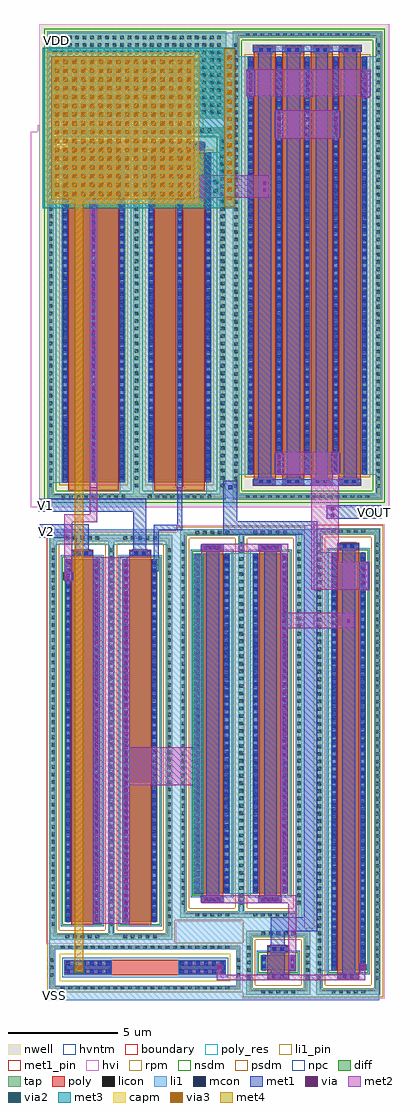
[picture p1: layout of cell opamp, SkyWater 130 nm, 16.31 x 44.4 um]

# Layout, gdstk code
from math import pi, radians
import gdstk
lib = gdstk.Library(unit=1e-6, precision=1e-09)
def R(c, l, rs):  # rectangles x0, y0, x1, y1
    for r in rs: c.add(gdstk.rectangle(r[:2], r[2:], *l))
def A(c, l, x, y, w, h, nx, ny, dx, dy):  # array of equal rectangles
    R(c, l, [(x+i*dx, y+j*dy, x+i*dx+w, y+j*dy+h) for i in range(nx) for j in range(ny)])
nwell = (64, 20)
diff = (65, 20)
tap = (65, 44)
poly_res = (66, 13)
poly = (66, 20)
licon = (66, 44)
li1_pin = (67, 16)
li1 = (67, 20)
mcon = (67, 44)
met1_pin = (68, 16)
met1 = (68, 20)
via = (68, 44)
met2 = (69, 20)
via2 = (69, 44)
met3 = (70, 20)
via3 = (70, 44)
met4 = (71, 20)
hvi = (75, 20)
rpm = (86, 20)
capm = (89, 44)
nsdm = (93, 44)
psdm = (94, 20)
npc = (95, 20)
hvntm = (125, 20)
boundary = (235, 4)

sky130_fd_pr__nfet_g5v0d = lib.new_cell('sky130_fd_pr__nfet_g5v0d10v5_VYCZE8')
R(sky130_fd_pr__nfet_g5v0d, diff, [(-0.79,-8.405,0.79,8.095)])
R(sky130_fd_pr__nfet_g5v0d, tap, [(-1.46,-9.205,1.46,-8.915), (-1.46,-8.915,-1.17,8.915), (1.17,-8.915,1.46,8.915), (-1.46,8.915,1.46,9.205)])
R(sky130_fd_pr__nfet_g5v0d, poly, [(-0.5,-8.535,0.5,8.535)])
A(sky130_fd_pr__nfet_g5v0d, licon, -0.765, -9.145, 0.17, 0.17, 5, 2, 0.34, 18.12)
A(sky130_fd_pr__nfet_g5v0d, licon, -1.4, -8.585, 0.17, 0.17, 1, 51, 0, 0.34)
A(sky130_fd_pr__nfet_g5v0d, licon, 1.23, -8.585, 0.17, 0.17, 1, 51, 0, 0.34)
A(sky130_fd_pr__nfet_g5v0d, licon, -0.73, -8.23, 0.17, 0.17, 1, 48, 0, 0.34)
A(sky130_fd_pr__nfet_g5v0d, licon, 0.56, -8.23, 0.17, 0.17, 1, 48, 0, 0.34)
R(sky130_fd_pr__nfet_g5v0d, licon, [(-0.255,8.285,-0.085,8.455), (0.085,8.285,0.255,8.455)])
R(sky130_fd_pr__nfet_g5v0d, li1, [(-1.4,-9.145,1.4,-8.975), (-1.4,-8.975,-1.23,8.975), (1.23,-8.975,1.4,8.975), (-0.73,-8.425,-0.56,8.115), (0.56,-8.425,0.73,8.115), (-0.5,8.285,0.5,8.455), (-1.4,8.975,1.4,9.145)])
A(sky130_fd_pr__nfet_g5v0d, mcon, -0.73, -8.34, 0.17, 0.17, 1, 46, 0, 0.36)
A(sky130_fd_pr__nfet_g5v0d, mcon, 0.56, -8.34, 0.17, 0.17, 1, 46, 0, 0.36)
R(sky130_fd_pr__nfet_g5v0d, mcon, [(-0.265,8.285,-0.095,8.455), (0.095,8.285,0.265,8.455)])
R(sky130_fd_pr__nfet_g5v0d, met1, [(-0.76,-8.405,-0.53,8.095), (0.53,-8.405,0.76,8.095), (-0.48,8.255,0.48,8.485)])
R(sky130_fd_pr__nfet_g5v0d, hvi, [(-1.645,-9.39,1.645,9.39)])
R(sky130_fd_pr__nfet_g5v0d, nsdm, [(-0.915,-8.53,0.915,8.22)])
R(sky130_fd_pr__nfet_g5v0d, psdm, [(-1.585,-9.33,1.585,-8.79), (-1.585,-8.79,-1.045,8.79), (1.045,-8.79,1.585,8.79), (-1.585,8.79,1.585,9.33)])
R(sky130_fd_pr__nfet_g5v0d, npc, [(-0.355,8.185,0.355,8.555)])
R(sky130_fd_pr__nfet_g5v0d, hvntm, [(-0.975,-8.59,0.975,8.28)])
R(sky130_fd_pr__nfet_g5v0d, boundary, [(-1.315,-9.06,1.315,9.06)])

c_sky130_fd_pr__nfet_g5v0d = lib.new_cell('sky130_fd_pr__nfet_g5v0d10v5_F3SB2X')
R(c_sky130_fd_pr__nfet_g5v0d, diff, [(-0.79,-7.72,0.79,7.72)])
R(c_sky130_fd_pr__nfet_g5v0d, tap, [(-1.46,-8.83,1.46,-8.54), (-1.46,-8.54,-1.17,8.54), (1.17,-8.54,1.46,8.54), (-1.46,8.54,1.46,8.83)])
R(c_sky130_fd_pr__nfet_g5v0d, poly, [(-0.5,-8.16,0.5,8.16)])
A(c_sky130_fd_pr__nfet_g5v0d, licon, -0.765, -8.77, 0.17, 0.17, 5, 2, 0.34, 17.37)
A(c_sky130_fd_pr__nfet_g5v0d, licon, -1.4, -8.245, 0.17, 0.17, 1, 49, 0, 0.34)
A(c_sky130_fd_pr__nfet_g5v0d, licon, 1.23, -8.245, 0.17, 0.17, 1, 49, 0, 0.34)
A(c_sky130_fd_pr__nfet_g5v0d, licon, -0.73, -7.565, 0.17, 0.17, 1, 45, 0, 0.34)
A(c_sky130_fd_pr__nfet_g5v0d, licon, 0.56, -7.565, 0.17, 0.17, 1, 45, 0, 0.34)
R(c_sky130_fd_pr__nfet_g5v0d, licon, [(-0.255,-8.08,-0.085,-7.91), (0.085,-8.08,0.255,-7.91), (-0.255,7.91,-0.085,8.08), (0.085,7.91,0.255,8.08)])
R(c_sky130_fd_pr__nfet_g5v0d, li1, [(-1.4,-8.77,1.4,-8.6), (-1.4,-8.6,-1.23,8.6), (1.23,-8.6,1.4,8.6), (-0.5,-8.08,0.5,-7.91), (-0.73,-7.74,-0.56,7.74), (0.56,-7.74,0.73,7.74), (-0.5,7.91,0.5,8.08), (-1.4,8.6,1.4,8.77)])
A(c_sky130_fd_pr__nfet_g5v0d, mcon, -0.73, -7.645, 0.17, 0.17, 1, 43, 0, 0.36)
A(c_sky130_fd_pr__nfet_g5v0d, mcon, 0.56, -7.645, 0.17, 0.17, 1, 43, 0, 0.36)
R(c_sky130_fd_pr__nfet_g5v0d, mcon, [(-0.265,-8.08,-0.095,-7.91), (0.095,-8.08,0.265,-7.91), (-0.265,7.91,-0.095,8.08), (0.095,7.91,0.265,8.08)])
R(c_sky130_fd_pr__nfet_g5v0d, met1, [(-0.48,-8.11,0.48,-7.88), (-0.76,-7.72,-0.53,7.72), (0.53,-7.72,0.76,7.72), (-0.48,7.88,0.48,8.11)])
R(c_sky130_fd_pr__nfet_g5v0d, hvi, [(-1.645,-9.015,1.645,9.015)])
R(c_sky130_fd_pr__nfet_g5v0d, nsdm, [(-0.915,-7.845,0.915,7.845)])
R(c_sky130_fd_pr__nfet_g5v0d, psdm, [(-1.585,-8.955,1.585,-8.415), (-1.585,-8.415,-1.045,8.415), (1.045,-8.415,1.585,8.415), (-1.585,8.415,1.585,8.955)])
R(c_sky130_fd_pr__nfet_g5v0d, npc, [(-0.355,-8.18,0.355,-7.81), (-0.355,7.81,0.355,8.18)])
R(c_sky130_fd_pr__nfet_g5v0d, hvntm, [(-0.975,-7.905,0.975,7.905)])
R(c_sky130_fd_pr__nfet_g5v0d, boundary, [(-1.31,-8.68,1.31,8.68)])

c_sky130_fd_pr__nfet_g5v0d_ = lib.new_cell('sky130_fd_pr__nfet_g5v0d10v5_2HXNYY')
R(c_sky130_fd_pr__nfet_g5v0d_, diff, [(-0.79,-9.5,0.79,9.5)])
R(c_sky130_fd_pr__nfet_g5v0d_, tap, [(-1.46,-10.61,1.46,-10.32), (-1.46,-10.32,-1.17,10.32), (1.17,-10.32,1.46,10.32), (-1.46,10.32,1.46,10.61)])
R(c_sky130_fd_pr__nfet_g5v0d_, poly, [(-0.5,-9.94,0.5,9.94)])
A(c_sky130_fd_pr__nfet_g5v0d_, licon, -0.765, -10.55, 0.17, 0.17, 5, 2, 0.34, 20.93)
A(c_sky130_fd_pr__nfet_g5v0d_, licon, -1.4, -9.945, 0.17, 0.17, 1, 59, 0, 0.34)
A(c_sky130_fd_pr__nfet_g5v0d_, licon, 1.23, -9.945, 0.17, 0.17, 1, 59, 0, 0.34)
A(c_sky130_fd_pr__nfet_g5v0d_, licon, -0.73, -9.435, 0.17, 0.17, 1, 56, 0, 0.34)
A(c_sky130_fd_pr__nfet_g5v0d_, licon, 0.56, -9.435, 0.17, 0.17, 1, 56, 0, 0.34)
R(c_sky130_fd_pr__nfet_g5v0d_, licon, [(-0.255,-9.86,-0.085,-9.69), (0.085,-9.86,0.255,-9.69), (-0.255,9.69,-0.085,9.86), (0.085,9.69,0.255,9.86)])
R(c_sky130_fd_pr__nfet_g5v0d_, li1, [(-1.4,-10.55,1.4,-10.38), (-1.4,-10.38,-1.23,10.38), (1.23,-10.38,1.4,10.38), (-0.5,-9.86,0.5,-9.69), (-0.73,-9.52,-0.56,9.52), (0.56,-9.52,0.73,9.52), (-0.5,9.69,0.5,9.86), (-1.4,10.38,1.4,10.55)])
A(c_sky130_fd_pr__nfet_g5v0d_, mcon, -0.73, -9.265, 0.17, 0.17, 1, 52, 0, 0.36)
A(c_sky130_fd_pr__nfet_g5v0d_, mcon, 0.56, -9.265, 0.17, 0.17, 1, 52, 0, 0.36)
R(c_sky130_fd_pr__nfet_g5v0d_, mcon, [(-0.265,-9.86,-0.095,-9.69), (0.095,-9.86,0.265,-9.69), (-0.265,9.69,-0.095,9.86), (0.095,9.69,0.265,9.86)])
R(c_sky130_fd_pr__nfet_g5v0d_, met1, [(-0.48,-9.89,0.48,-9.66), (-0.76,-9.5,-0.53,9.5), (0.53,-9.5,0.76,9.5), (-0.48,9.66,0.48,9.89)])
R(c_sky130_fd_pr__nfet_g5v0d_, hvi, [(-1.645,-10.795,1.645,10.795)])
R(c_sky130_fd_pr__nfet_g5v0d_, nsdm, [(-0.915,-9.625,0.915,9.625)])
R(c_sky130_fd_pr__nfet_g5v0d_, psdm, [(-1.585,-10.735,1.585,-10.195), (-1.585,-10.195,-1.045,10.195), (1.045,-10.195,1.585,10.195), (-1.585,10.195,1.585,10.735)])
R(c_sky130_fd_pr__nfet_g5v0d_, npc, [(-0.355,-9.96,0.355,-9.59), (-0.355,9.59,0.355,9.96)])
R(c_sky130_fd_pr__nfet_g5v0d_, hvntm, [(-0.975,-9.685,0.975,9.685)])
R(c_sky130_fd_pr__nfet_g5v0d_, boundary, [(-1.31,-10.46,1.31,10.46)])

c_sky130_fd_pr__nfet_g5v0d__ = lib.new_cell('sky130_fd_pr__nfet_g5v0d10v5_LB7Y8R')
R(c_sky130_fd_pr__nfet_g5v0d__, diff, [(-0.79,-0.345,0.79,0.345)])
R(c_sky130_fd_pr__nfet_g5v0d__, tap, [(-1.46,-1.455,1.46,-1.165), (-1.46,-1.165,-1.17,1.165), (1.17,-1.165,1.46,1.165), (-1.46,1.165,1.46,1.455)])
R(c_sky130_fd_pr__nfet_g5v0d__, poly, [(-0.5,-0.785,0.5,0.785)])
A(c_sky130_fd_pr__nfet_g5v0d__, licon, -0.765, -1.395, 0.17, 0.17, 5, 2, 0.34, 2.62)
A(c_sky130_fd_pr__nfet_g5v0d__, licon, -1.4, -0.765, 0.17, 0.17, 1, 5, 0, 0.34)
A(c_sky130_fd_pr__nfet_g5v0d__, licon, 1.23, -0.765, 0.17, 0.17, 1, 5, 0, 0.34)
R(c_sky130_fd_pr__nfet_g5v0d__, licon, [(-0.255,-0.705,-0.085,-0.535), (0.085,-0.705,0.255,-0.535), (-0.73,-0.255,-0.56,-0.085), (0.56,-0.255,0.73,-0.085), (-0.73,0.085,-0.56,0.255), (0.56,0.085,0.73,0.255), (-0.255,0.535,-0.085,0.705), (0.085,0.535,0.255,0.705)])
R(c_sky130_fd_pr__nfet_g5v0d__, li1, [(-1.4,-1.395,1.4,-1.225), (-1.4,-1.225,-1.23,1.225), (1.23,-1.225,1.4,1.225), (-0.5,-0.705,0.5,-0.535), (-0.73,-0.365,-0.56,0.365), (0.56,-0.365,0.73,0.365), (-0.5,0.535,0.5,0.705), (-1.4,1.225,1.4,1.395)])
R(c_sky130_fd_pr__nfet_g5v0d__, mcon, [(-0.265,-0.705,-0.095,-0.535), (0.095,-0.705,0.265,-0.535), (-0.73,-0.265,-0.56,-0.095), (0.56,-0.265,0.73,-0.095), (-0.73,0.095,-0.56,0.265), (0.56,0.095,0.73,0.265), (-0.265,0.535,-0.095,0.705), (0.095,0.535,0.265,0.705)])
R(c_sky130_fd_pr__nfet_g5v0d__, met1, [(-0.48,-0.735,0.48,-0.505), (-0.76,-0.345,-0.53,0.345), (0.53,-0.345,0.76,0.345), (-0.48,0.505,0.48,0.735)])
R(c_sky130_fd_pr__nfet_g5v0d__, hvi, [(-1.645,-1.64,1.645,1.64)])
R(c_sky130_fd_pr__nfet_g5v0d__, nsdm, [(-0.915,-0.47,0.915,0.47)])
R(c_sky130_fd_pr__nfet_g5v0d__, psdm, [(-1.585,-1.58,1.585,-1.04), (-1.585,-1.04,-1.045,1.04), (1.045,-1.04,1.585,1.04), (-1.585,1.04,1.585,1.58)])
R(c_sky130_fd_pr__nfet_g5v0d__, npc, [(-0.355,-0.805,0.355,-0.435), (-0.355,0.435,0.355,0.805)])
R(c_sky130_fd_pr__nfet_g5v0d__, hvntm, [(-0.975,-0.53,0.975,0.53)])
R(c_sky130_fd_pr__nfet_g5v0d__, boundary, [(-1.315,-1.31,1.315,1.31)])

sky130_fd_pr__res_high_p = lib.new_cell('sky130_fd_pr__res_high_po_0p69_T8KQH6')
R(sky130_fd_pr__res_high_p, tap, [(-0.995,-4.33,0.995,-4.16), (-0.995,-4.16,-0.825,4.16), (0.825,-4.16,0.995,4.16), (-0.995,4.16,0.995,4.33)])
R(sky130_fd_pr__res_high_p, poly_res, [(-0.345,-1.6,0.345,1.6)])
R(sky130_fd_pr__res_high_p, poly, [(-0.345,-3.68,0.345,3.68)])
A(sky130_fd_pr__res_high_p, licon, -0.425, -4.33, 0.17, 0.17, 3, 2, 0.34, 8.49)
A(sky130_fd_pr__res_high_p, licon, -0.995, -3.825, 0.17, 0.17, 1, 23, 0, 0.34)
A(sky130_fd_pr__res_high_p, licon, 0.825, -3.825, 0.17, 0.17, 1, 23, 0, 0.34)
R(sky130_fd_pr__res_high_p, licon, [(-0.095,-3.6,0.095,-1.6), (-0.095,1.6,0.095,3.6)])
R(sky130_fd_pr__res_high_p, li1, [(-0.995,-4.33,0.995,-4.16), (-0.995,-4.16,-0.825,4.16), (0.825,-4.16,0.995,4.16), (-0.345,-3.68,0.345,-1.52), (-0.345,1.52,0.345,3.68), (-0.995,4.16,0.995,4.33)])
A(sky130_fd_pr__res_high_p, mcon, -0.265, -3.585, 0.17, 0.17, 1, 6, 0, 0.36)
A(sky130_fd_pr__res_high_p, mcon, 0.095, -3.585, 0.17, 0.17, 1, 6, 0, 0.36)
A(sky130_fd_pr__res_high_p, mcon, -0.265, 1.61, 0.17, 0.17, 1, 6, 0, 0.36)
A(sky130_fd_pr__res_high_p, mcon, 0.095, 1.61, 0.17, 0.17, 1, 6, 0, 0.36)
R(sky130_fd_pr__res_high_p, met1, [(-0.295,-3.65,0.295,-1.545), (-0.295,1.545,0.295,3.65)])
R(sky130_fd_pr__res_high_p, rpm, [(-0.635,-3.88,0.635,3.88)])
R(sky130_fd_pr__res_high_p, psdm, [(-1.12,-4.455,1.12,4.455)])
R(sky130_fd_pr__res_high_p, npc, [(-0.44,-3.775,0.44,3.775)])
R(sky130_fd_pr__res_high_p, boundary, [(-0.91,-4.245,0.91,4.245)])

sky130_fd_pr__cap_mim_m3 = lib.new_cell('sky130_fd_pr__cap_mim_m3_1_8DB3RK')
R(sky130_fd_pr__cap_mim_m3, met3, [(-4.38,-3.65,4.38,3.65)])
A(sky130_fd_pr__cap_mim_m3, via3, 4.02, -3.3, 0.2, 0.2, 1, 17, 0, 0.4)
A(sky130_fd_pr__cap_mim_m3, via3, -3.83, -3.1, 0.2, 0.2, 16, 16, 0.4, 0.4)
R(sky130_fd_pr__cap_mim_m3, met4, [(3.88,-3.59,4.36,3.59), (-3.985,-3.255,2.525,3.255)])
R(sky130_fd_pr__cap_mim_m3, capm, [(-4.18,-3.45,2.72,3.45)])
R(sky130_fd_pr__cap_mim_m3, boundary, [(-4.38,-3.65,2.92,3.65)])

sky130_fd_pr__pfet_g5v0d = lib.new_cell('sky130_fd_pr__pfet_g5v0d10v5_K8DQNF')
R(sky130_fd_pr__pfet_g5v0d, nwell, [(-2.435,-8.81,2.435,8.81)])
R(sky130_fd_pr__pfet_g5v0d, diff, [(-1.435,-7.68,1.435,7.32)])
R(sky130_fd_pr__pfet_g5v0d, tap, [(-2.105,-8.48,2.105,-8.19), (-2.105,-8.19,-1.815,8.19), (1.815,-8.19,2.105,8.19), (-2.105,8.19,2.105,8.48)])
R(sky130_fd_pr__pfet_g5v0d, poly, [(-1.145,-7.81,-0.145,7.805), (0.145,-7.81,1.145,7.805)])
A(sky130_fd_pr__pfet_g5v0d, licon, -1.445, -8.42, 0.17, 0.17, 9, 2, 0.34, 16.67)
A(sky130_fd_pr__pfet_g5v0d, licon, -2.045, -7.905, 0.17, 0.17, 1, 47, 0, 0.34)
A(sky130_fd_pr__pfet_g5v0d, licon, 1.875, -7.905, 0.17, 0.17, 1, 47, 0, 0.34)
A(sky130_fd_pr__pfet_g5v0d, licon, -1.375, -7.575, 0.17, 0.17, 3, 44, 1.29, 0.34)
R(sky130_fd_pr__pfet_g5v0d, licon, [(-0.9,7.555,-0.73,7.725), (-0.56,7.555,-0.39,7.725), (0.39,7.555,0.56,7.725), (0.73,7.555,0.9,7.725)])
A(sky130_fd_pr__pfet_g5v0d, li1, -1.375, -7.7, 0.17, 15.04, 3, 1, 1.29, 0)
R(sky130_fd_pr__pfet_g5v0d, li1, [(-2.045,-8.42,2.045,-8.25), (-2.045,-8.25,-1.875,8.25), (1.875,-8.25,2.045,8.25), (-1.145,7.555,-0.145,7.725), (0.145,7.555,1.145,7.725), (-2.045,8.25,2.045,8.42)])
A(sky130_fd_pr__pfet_g5v0d, mcon, -1.375, -7.465, 0.17, 0.17, 3, 41, 1.29, 0.36)
R(sky130_fd_pr__pfet_g5v0d, mcon, [(-0.91,7.555,-0.74,7.725), (-0.55,7.555,-0.38,7.725), (0.38,7.555,0.55,7.725), (0.74,7.555,0.91,7.725)])
A(sky130_fd_pr__pfet_g5v0d, met1, -1.405, -7.68, 0.23, 15, 3, 1, 1.29, 0)
R(sky130_fd_pr__pfet_g5v0d, met1, [(-1.125,7.525,-0.165,7.755), (0.165,7.525,1.125,7.755)])
R(sky130_fd_pr__pfet_g5v0d, hvi, [(-2.435,-8.81,2.435,8.81)])
R(sky130_fd_pr__pfet_g5v0d, nsdm, [(-2.23,-8.605,2.23,-8.065), (-2.23,-8.065,-1.69,8.065), (1.69,-8.065,2.23,8.065), (-2.23,8.065,2.23,8.605)])
R(sky130_fd_pr__pfet_g5v0d, psdm, [(-1.56,-7.805,1.56,7.445)])
R(sky130_fd_pr__pfet_g5v0d, npc, [(-1,7.455,-0.29,7.825), (0.29,7.455,1,7.825)])
R(sky130_fd_pr__pfet_g5v0d, boundary, [(-1.96,-8.335,1.96,8.335)])

c_sky130_fd_pr__pfet_g5v0d = lib.new_cell('sky130_fd_pr__pfet_g5v0d10v5_24QKAW')
R(c_sky130_fd_pr__pfet_g5v0d, nwell, [(-3.725,-10.985,3.725,10.985)])
R(c_sky130_fd_pr__pfet_g5v0d, diff, [(-2.725,-9.5,2.725,9.5)])
R(c_sky130_fd_pr__pfet_g5v0d, tap, [(-3.395,-10.655,3.395,-10.365), (-3.395,-10.365,-3.105,10.365), (3.105,-10.365,3.395,10.365), (-3.395,10.365,3.395,10.655)])
A(c_sky130_fd_pr__pfet_g5v0d, poly, -2.435, -9.985, 1, 19.97, 4, 1, 1.29, 0)
A(c_sky130_fd_pr__pfet_g5v0d, licon, -2.805, -10.595, 0.17, 0.17, 17, 2, 0.34, 21.02)
A(c_sky130_fd_pr__pfet_g5v0d, licon, -3.335, -10.115, 0.17, 0.17, 1, 60, 0, 0.34)
A(c_sky130_fd_pr__pfet_g5v0d, licon, 3.165, -10.115, 0.17, 0.17, 1, 60, 0, 0.34)
A(c_sky130_fd_pr__pfet_g5v0d, licon, -2.665, -9.435, 0.17, 0.17, 5, 56, 1.29, 0.34)
R(c_sky130_fd_pr__pfet_g5v0d, licon, [(-2.19,-9.905,-2.02,-9.735), (-1.85,-9.905,-1.68,-9.735), (-0.9,-9.905,-0.73,-9.735), (-0.56,-9.905,-0.39,-9.735), (0.39,-9.905,0.56,-9.735), (0.73,-9.905,0.9,-9.735), (1.68,-9.905,1.85,-9.735), (2.02,-9.905,2.19,-9.735), (-2.19,9.735,-2.02,9.905), (-1.85,9.735,-1.68,9.905), (-0.9,9.735,-0.73,9.905), (-0.56,9.735,-0.39,9.905), (0.39,9.735,0.56,9.905), (0.73,9.735,0.9,9.905), (1.68,9.735,1.85,9.905), (2.02,9.735,2.19,9.905)])
A(c_sky130_fd_pr__pfet_g5v0d, li1, -2.435, -9.905, 1, 0.17, 4, 2, 1.29, 19.64)
A(c_sky130_fd_pr__pfet_g5v0d, li1, -2.665, -9.52, 0.17, 19.04, 5, 1, 1.29, 0)
R(c_sky130_fd_pr__pfet_g5v0d, li1, [(-3.335,-10.595,3.335,-10.425), (-3.335,-10.425,-3.165,10.425), (3.165,-10.425,3.335,10.425), (-3.335,10.425,3.335,10.595)])
A(c_sky130_fd_pr__pfet_g5v0d, mcon, -2.665, -9.265, 0.17, 0.17, 5, 52, 1.29, 0.36)
R(c_sky130_fd_pr__pfet_g5v0d, mcon, [(-2.2,-9.905,-2.03,-9.735), (-1.84,-9.905,-1.67,-9.735), (-0.91,-9.905,-0.74,-9.735), (-0.55,-9.905,-0.38,-9.735), (0.38,-9.905,0.55,-9.735), (0.74,-9.905,0.91,-9.735), (1.67,-9.905,1.84,-9.735), (2.03,-9.905,2.2,-9.735), (-2.2,9.735,-2.03,9.905), (-1.84,9.735,-1.67,9.905), (-0.91,9.735,-0.74,9.905), (-0.55,9.735,-0.38,9.905), (0.38,9.735,0.55,9.905), (0.74,9.735,0.91,9.905), (1.67,9.735,1.84,9.905), (2.03,9.735,2.2,9.905)])
A(c_sky130_fd_pr__pfet_g5v0d, met1, -2.415, -9.935, 0.96, 0.23, 4, 2, 1.29, 19.64)
A(c_sky130_fd_pr__pfet_g5v0d, met1, -2.695, -9.5, 0.23, 19, 5, 1, 1.29, 0)
R(c_sky130_fd_pr__pfet_g5v0d, hvi, [(-3.725,-10.985,3.725,10.985)])
R(c_sky130_fd_pr__pfet_g5v0d, nsdm, [(-3.52,-10.78,3.52,-10.24), (-3.52,-10.24,-2.98,10.24), (2.98,-10.24,3.52,10.24), (-3.52,10.24,3.52,10.78)])
R(c_sky130_fd_pr__pfet_g5v0d, psdm, [(-2.85,-9.625,2.85,9.625)])
A(c_sky130_fd_pr__pfet_g5v0d, npc, -2.29, -10.005, 0.71, 0.37, 4, 2, 1.29, 19.64)
R(c_sky130_fd_pr__pfet_g5v0d, boundary, [(-3.25,-10.51,3.25,10.51)])

opamp = lib.new_cell('opamp')
R(opamp, nwell, [(19.08,23.905,19.14,40.975), (19.08,40.975,28.63,45.185), (19.08,45.185,27.635,45.885)])
R(opamp, tap, [(19.435,41.57,27.575,45.555)])
R(opamp, poly, [(20.4,24.65,22.69,24.815), (24.32,24.65,26.61,24.815), (20.4,24.815,21.4,25.085), (21.69,24.815,22.69,25.085), (24.32,24.815,25.32,25.085), (25.61,24.815,26.61,25.085), (20.4,40.03,21.4,40.315), (21.69,40.03,22.69,40.315), (24.32,40.035,25.32,40.32), (25.61,40.035,26.61,40.32), (20.4,40.315,22.69,40.465), (24.32,40.32,26.61,40.47)])
A(opamp, licon, 19.695, 41.78, 0.17, 0.17, 23, 11, 0.34, 0.34)
R(opamp, li1_pin, [(19.56,1.52,19.96,1.9), (19.565,44.82,20.165,45.42)])
R(opamp, li1, [(19.525,1.485,34.54,1.96), (19.525,1.96,28.57,2.03), (31.27,1.96,31.83,2.82), (19.525,2.03,19.805,3.87), (28.15,2.03,28.57,3.87), (31.27,2.82,32.58,4.56), (19.525,3.87,28.62,4.4), (19.525,4.4,19.805,22.19), (24.89,4.4,28.725,4.41), (24.89,4.41,30.83,4.56), (24.89,4.56,32.58,5.41), (24.89,5.41,25.62,22.19), (30.75,5.41,32.58,21.86), (27.51,6.325,29.02,21.805), (30.75,21.86,31.83,22.65), (19.525,22.19,25.62,22.65), (19.525,22.65,31.83,22.835), (19.525,22.835,31.75,22.89), (27.43,24.3,28.06,25.01), (19.585,24.4,19.625,25.015), (20.305,24.4,20.34,24.465), (22.75,24.4,24.265,40.055), (33.77,24.415,34.475,24.47), (26.67,24.42,27.365,25.01), (28.075,24.45,28.725,24.465), (28.075,24.465,28.11,25.375), (34.44,24.47,34.475,25.375), (26.67,25.01,28.06,25.055), (19.585,25.015,20.34,25.035), (19.595,25.035,20.34,40.055), (26.79,25.055,28.06,25.375), (26.79,25.375,28.015,39.99), (28.075,25.375,28.78,40.02), (33.915,25.375,34.475,25.38), (33.77,25.38,34.475,44.415), (31.185,25.56,31.36,43.985), (26.67,39.99,28.015,40.02), (26.67,40.02,28.78,40.05), (26.67,40.05,27.37,40.055), (27.415,40.05,28.78,40.53), (27.415,40.53,28.06,40.725), (28.075,40.53,28.78,41.35), (19.5,40.695,19.6,40.725), (19.5,40.725,28.06,41.35), (19.5,41.35,28.78,41.415), (19.5,41.415,28.025,44.675), (28.075,41.415,28.78,43.985), (28.075,43.985,28.735,44.4), (28.075,44.4,28.78,44.415), (28.075,44.415,28.11,44.685), (34.44,44.415,34.475,44.65), (19.5,44.675,28.045,45.49)])
R(opamp, mcon, [(27.68,24.725,27.85,24.895)])
R(opamp, met1_pin, [(19.09,22.52,19.69,23.12), (34.025,23.385,34.625,23.985), (19.05,23.69,19.65,24.29)])
R(opamp, met1, [(29.59,2.45,29.695,2.555), (29.59,2.555,30.235,2.68), (32.86,2.555,33.46,22.21), (29.61,2.68,30.235,2.84), (20.64,2.7,21.135,3.21), (27.095,2.825,27.455,3.085), (29.19,2.84,30.235,3.53), (30.415,2.84,30.775,3.53), (33.605,2.84,33.965,3.1), (29.61,3.53,30.235,3.69), (29.59,3.69,30.235,3.92), (29.61,3.92,30.235,4.615), (29.61,4.615,31.73,5.24), (21.53,4.97,21.855,21.555), (22.845,5.03,23.205,21.535), (31.105,5.24,31.73,22.645), (26.42,5.94,27.48,6.2), (29.05,5.94,30.11,6.2), (26.675,6.2,27.26,21.93), (29.305,6.2,29.89,21.93), (26.125,6.345,26.485,21.785), (30.05,6.345,30.41,21.785), (33.625,20.175,34.05,21.37), (20.16,20.59,20.62,20.95), (24.285,20.985,24.515,22.865), (23.355,21.785,23.955,23.69), (20.735,21.8,21.335,22.52), (26.42,21.93,27.48,22.19), (29.05,21.93,30.115,22.19), (19.09,22.52,21.335,23.12), (27.455,22.645,31.73,23.27), (24.285,22.865,25.58,23.095), (25.35,23.095,25.58,25.155), (27.455,23.27,28.08,25.105), (32.165,23.385,34.625,23.985), (19.05,23.69,23.955,24.29), (28.785,24.88,33.725,25.105), (21.365,25.035,21.725,40.195), (28.785,25.105,32.205,25.185), (32.3,25.105,33.725,25.185), (29.035,25.185,29.635,44.625), (30.34,25.185,30.94,44.625), (31.655,25.185,32.205,44.625), (32.925,25.185,33.525,44.625), (29.795,25.415,30.19,26.325), (32.37,25.47,32.765,26.38), (25.265,38.055,25.675,38.95), (20.39,40.195,22.7,40.515), (24.29,40.225,25.35,40.485), (25.575,40.225,26.635,40.485), (29.785,40.715,30.185,41.905), (32.41,40.715,32.77,41.91), (33.725,42.57,34.13,43.75), (31.105,42.58,31.51,43.76), (28.49,42.605,28.895,43.785), (28.8,44.625,32.205,44.67), (32.3,44.625,33.74,44.67), (28.8,44.67,33.74,44.93)])
A(opamp, via, 22.95, 5.205, 0.15, 0.15, 1, 51, 0, 0.32)
A(opamp, via, 21.62, 5.21, 0.15, 0.15, 1, 51, 0, 0.32)
A(opamp, via, 26.555, 5.995, 0.15, 0.15, 3, 2, 0.32, 15.99)
A(opamp, via, 29.185, 5.995, 0.15, 0.15, 3, 2, 0.32, 15.99)
A(opamp, via, 30.155, 6.47, 0.15, 0.15, 1, 48, 0, 0.32)
A(opamp, via, 26.23, 6.475, 0.15, 0.15, 1, 48, 0, 0.32)
A(opamp, via, 33.76, 20.375, 0.15, 0.15, 1, 3, 0, 0.32)
A(opamp, via, 21.47, 25.1, 0.15, 0.15, 1, 47, 0, 0.32)
A(opamp, via, 29.915, 25.475, 0.15, 0.15, 1, 3, 0, 0.32)
A(opamp, via, 32.49, 25.53, 0.15, 0.15, 1, 3, 0, 0.32)
A(opamp, via, 20.505, 40.28, 0.15, 0.15, 3, 1, 0.32, 0)
A(opamp, via, 21.795, 40.28, 0.15, 0.15, 3, 1, 0.32, 0)
A(opamp, via, 24.425, 40.28, 0.15, 0.15, 3, 1, 0.32, 0)
A(opamp, via, 25.71, 40.28, 0.15, 0.15, 3, 1, 0.32, 0)
A(opamp, via, 29.91, 40.915, 0.15, 0.15, 1, 3, 0, 0.32)
A(opamp, via, 32.515, 40.915, 0.15, 0.15, 1, 3, 0, 0.32)
A(opamp, via, 33.85, 42.765, 0.15, 0.15, 1, 3, 0, 0.32)
A(opamp, via, 31.23, 42.775, 0.15, 0.15, 1, 3, 0, 0.32)
A(opamp, via, 28.615, 42.8, 0.15, 0.15, 1, 3, 0, 0.32)
R(opamp, via, [(20.81,2.88,20.96,3.03), (27.2,2.88,27.35,3.03), (33.71,2.895,33.86,3.045), (30.52,2.95,30.67,3.1), (30.52,3.27,30.67,3.42), (33.085,18.655,33.235,18.805), (20.315,20.695,20.465,20.845), (32.34,23.45,32.49,23.6), (32.34,23.77,32.49,23.92), (29.26,38.26,29.41,38.41), (25.395,38.265,25.545,38.415), (29.26,38.58,29.41,38.73), (25.395,38.585,25.545,38.735)])
R(opamp, met2, [(27.145,2.375,33.915,2.635), (27.145,2.635,27.405,3.135), (33.655,2.635,33.915,3.15), (20.64,2.7,21.135,3.21), (30.415,2.785,30.775,5.89), (21.515,4.955,23.205,11.245), (26.47,5.89,30.775,6.25), (30.05,6.25,30.41,18.405), (26.125,6.39,26.485,11.245), (21.515,11.245,26.485,12.98), (21.515,12.98,23.205,21.625), (26.125,12.98,26.485,21.74), (30.05,18.405,33.405,19.095), (30.05,19.095,30.41,21.88), (33.665,20.115,34.06,20.145), (31.45,20.145,34.075,21.43), (20.21,20.54,20.57,23.23), (31.45,21.43,32.71,25.365), (26.47,21.88,30.41,22.24), (20.21,23.23,21.725,23.59), (21.365,23.59,21.725,40.175), (29.84,25.365,32.72,26.43), (25.27,37.99,29.54,39.015), (20.42,40.175,26.59,40.535), (29.835,40.655,32.74,41.955), (32.46,41.955,32.72,41.96), (33.775,42.52,34.08,42.59), (31.155,42.53,31.46,42.59), (28.54,42.555,28.845,42.59), (28.505,42.59,34.165,43.825), (28.54,43.825,28.845,43.835)])
R(opamp, via2, [(20.785,2.855,20.985,3.055), (27.025,38.19,27.225,38.39), (27.025,38.59,27.225,38.79)])
R(opamp, met3, [(20.64,2.7,21.135,3.21), (26.055,6.305,26.55,21.775), (26.335,37.51,27.49,44.81)])
R(opamp, via3, [(20.785,2.855,20.985,3.055)])
R(opamp, met4, [(20.685,2.745,21.09,3.165), (20.69,3.165,21.085,37.91), (19.63,37.91,26.13,44.41)])
R(opamp, hvi, [(28.305,4.825,31.495,5.05), (31.225,5.05,31.495,23.08), (18.69,23.905,19.53,40.68), (18.69,40.68,19.605,40.975), (19.005,40.975,28.63,41.27), (19.08,41.27,28.63,45.185), (19.08,45.185,27.76,45.74), (19.08,45.74,27.635,45.885)])
R(opamp, nsdm, [(27.695,24.115,27.755,41.32), (19.315,41.32,27.755,41.445), (19.31,41.445,27.755,45.675), (19.31,45.675,27.7,45.68)])
R(opamp, psdm, [(31.535,1.605,31.555,4.765), (28.345,1.845,28.365,4.085), (19.45,4.085,25.25,4.11), (28.365,4.765,31.165,5.11), (25.25,5.11,25.365,22.77)])
R(opamp, hvntm, [(22.01,4.85,22.02,21.72), (22.68,4.85,22.69,21.72), (27.925,6.16,27.935,21.97), (28.595,6.16,28.605,21.97)])
opamp.add(gdstk.Reference(sky130_fd_pr__nfet_g5v0d, (21.035,13.44)))
opamp.add(gdstk.Reference(sky130_fd_pr__nfet_g5v0d, (23.665,13.44)))
opamp.add(gdstk.Reference(c_sky130_fd_pr__nfet_g5v0d, (26.95,14.065)))
opamp.add(gdstk.Reference(c_sky130_fd_pr__nfet_g5v0d_, (33.14,12.34)))
opamp.add(gdstk.Reference(c_sky130_fd_pr__nfet_g5v0d, (29.58,14.065)))
opamp.add(gdstk.Reference(c_sky130_fd_pr__nfet_g5v0d__, (29.95,3.185)))
opamp.add(gdstk.Reference(sky130_fd_pr__res_high_p, (23.89,2.965), rotation=3*pi/2))
opamp.add(gdstk.Reference(sky130_fd_pr__cap_mim_m3, (23.61,41.16)))
opamp.add(gdstk.Reference(sky130_fd_pr__pfet_g5v0d, (25.465,32.715)))
opamp.add(gdstk.Reference(sky130_fd_pr__pfet_g5v0d, (21.545,32.715)))
opamp.add(gdstk.Reference(c_sky130_fd_pr__pfet_g5v0d, (31.275,34.895)))
opamp.add(gdstk.Label('VDD', (19.865,45.12), layer=67, texttype=5))
opamp.add(gdstk.Label('VSS', (19.76,1.71), layer=67, texttype=5))
opamp.add(gdstk.Label('V1', (19.35,23.99), layer=68, texttype=5))
opamp.add(gdstk.Label('V2', (19.39,22.82), layer=68, texttype=5))
opamp.add(gdstk.Label('VOUT', (34.325,23.685), layer=68, texttype=5))

lib.write_gds('opamp.gds')
